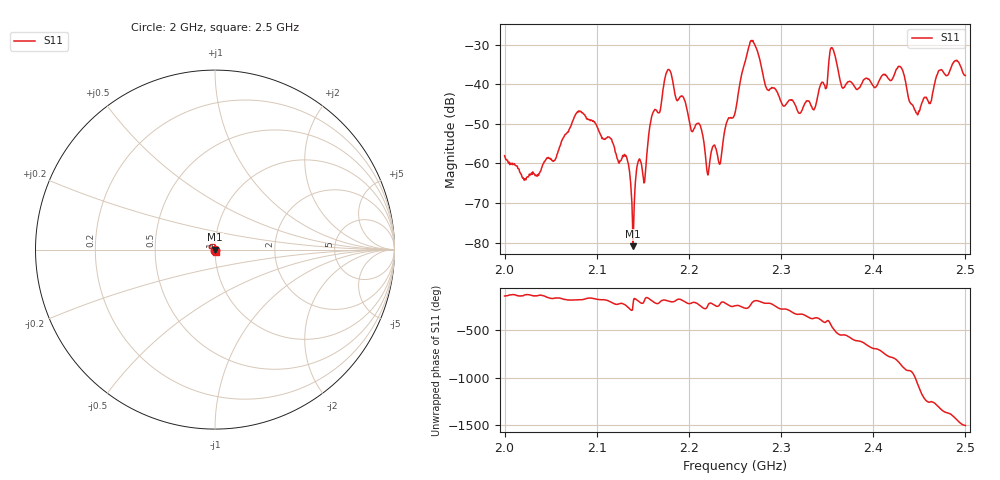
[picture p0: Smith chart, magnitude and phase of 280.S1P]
! C:\Users\rflab\Downloads\dp2_kdzw\280.S1P
! Touchstone 1.1 file saved by VNA.EXE V1.65 (www.ke5fx.com/gpib/readme.htm)
! 12/12/2024 7:09:59 PM
!  Source: HEWLETT PACKARD,8753D,0,6.14
!  Min freq: 2.000000E+009 Hz
!  Max freq: 2.500000E+009 Hz
!  Points: 801
!  Params: S21
# GHZ S MA R 50
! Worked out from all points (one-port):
!   801 points, 2 GHz to 2.5 GHz, reference 50 ohm
!   lowest |S11| = -80.9 dB at 2.139 GHz (marker M1), VSWR 1.00, Z = 50 + j0.00691 ohm
!   |S11| at or under -10 dB: start of sweep to end of sweep
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2  0.00125 -144.4
2.023125  0.00062 -129.9
2.0625  0.00198 -173.4
2.0825  0.004567 176.0
2.125  0.001077 135.1
2.133125  0.001108 104.1
2.139375  9e-05 129.9
2.145  0.001064 162.6
2.151875  0.000579 173.6
2.159375  0.003798 168.7
2.175625  0.01402 168.4
2.1875  0.006193 178.6
2.211875  0.003073 116.5
2.220625  0.000713 116.9
2.23375  0.000981 131.7
2.25  0.004368 112.9
2.26875  0.03478 149.2
2.285  0.008517 139.9
2.3125  0.006261 43.1
2.33625  0.004913 -15.7
2.355  0.02905 -102.2
2.36625  0.009097 166.4
2.375  0.01086 138.5
2.42875  0.01683 -128.9
2.4375  0.007354 155.3
2.448125  0.004104 13.9
2.471875  0.01505 123.4
2.5  0.01291 -61.0
